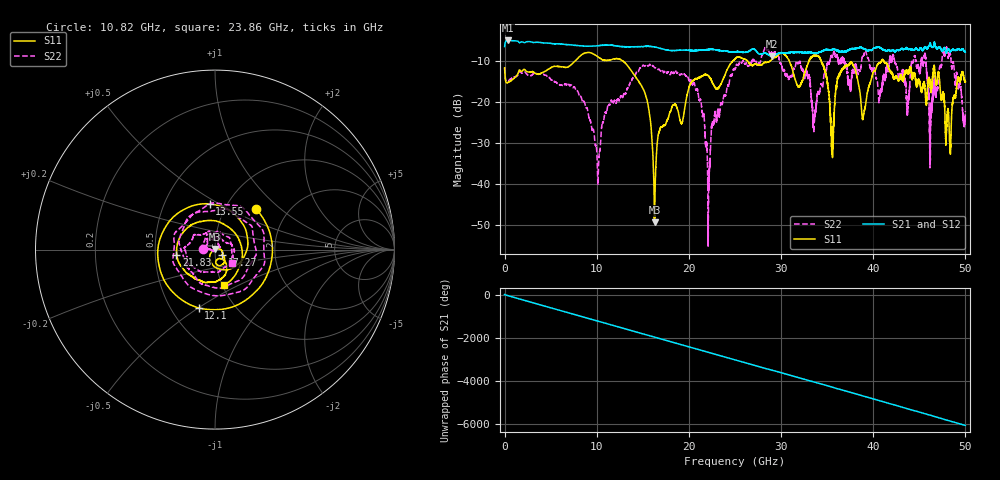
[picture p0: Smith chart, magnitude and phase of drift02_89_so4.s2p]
!Created with skrf (http://scikit-rf.org).
# Hz S RI R 50.0
!freq ReS11 ImS11 ReS21 ImS21 ReS12 ImS12 ReS22 ImS22
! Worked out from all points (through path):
!   10001 points, 300 kHz to 50 GHz, reference 50 ohm
!   highest |S21| = -5.04 dB at 325.3 MHz (marker M1); lowest = -8.9 dB at 28.98 GHz (marker M2)
!   group delay of S21, straight-line fit = 336 ps
!   lowest |S11| = -49.4 dB at 16.27 GHz (marker M3), VSWR 1.01, Z = 49.8 + j0.288 ohm
!   |S11| at or under -10 dB: start of sweep to 7.666 GHz; 12.82 GHz to 24.78 GHz (11.95 GHz wide, 63.6 % of centre); 41.13 GHz to end of sweep (the widest 3 of 8)
!   |S22| runs from -55.2 to -6.6 dB; largest |S21 - S12| = 0.028
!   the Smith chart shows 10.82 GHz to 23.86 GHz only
!   S11 on the Smith chart (normalised r, x): 10.82 GHz: 1.38, +0.70; 12.1 GHz: 0.68, -0.50; 13.55 GHz: 0.83, +0.45; 17.27 GHz: 1.08, -0.07; 21.83 GHz: 0.64, -0.04; 23.86 GHz: 1.01, -0.42
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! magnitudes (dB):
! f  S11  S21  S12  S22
! 300 kHz  -11.7  -6.5  -6.5  -11.7
! 325.3 MHz  -15.3  -5.0  -5.0  -15.1
! 8.335 GHz  -8.6  -6.4  -6.4  -19.1
! 10.11 GHz  -9.0  -6.3  -6.3  -39.1
! 10.82 GHz  -9.9  -6.2  -6.2  -23.7
! 12.1 GHz  -9.5  -6.4  -6.4  -20.3
! 13.55 GHz  -11.9  -6.6  -6.6  -15.9
! 16.27 GHz  -49.4  -6.6  -6.6  -11.7
! 16.67 GHz  -28.0  -6.8  -6.8  -12.1
! 17.27 GHz  -25.7  -7.2  -7.2  -12.9
! 21.83 GHz  -13.3  -7.3  -7.3  -31.0
! 23.86 GHz  -13.7  -7.6  -7.6  -18.3
! 25 GHz  -9.5  -7.8  -7.8  -12.0
! 28.98 GHz  -9.7  -8.9  -8.9  -7.9
! 33.34 GHz  -9.0  -8.0  -8.0  -20.2
! 35.55 GHz  -31.2  -7.2  -7.2  -9.0
! 36.8 GHz  -11.8  -7.8  -7.7  -10.3
! 41.67 GHz  -11.7  -7.3  -7.4  -12.3
! 45.5 GHz  -15.6  -7.0  -7.0  -9.9
! 46.25 GHz  -17.8  -6.1  -6.1  -24.1
! 48.12 GHz  -21.8  -7.1  -7.1  -9.0
! 50 GHz  -15.1  -7.9  -7.8  -22.4
